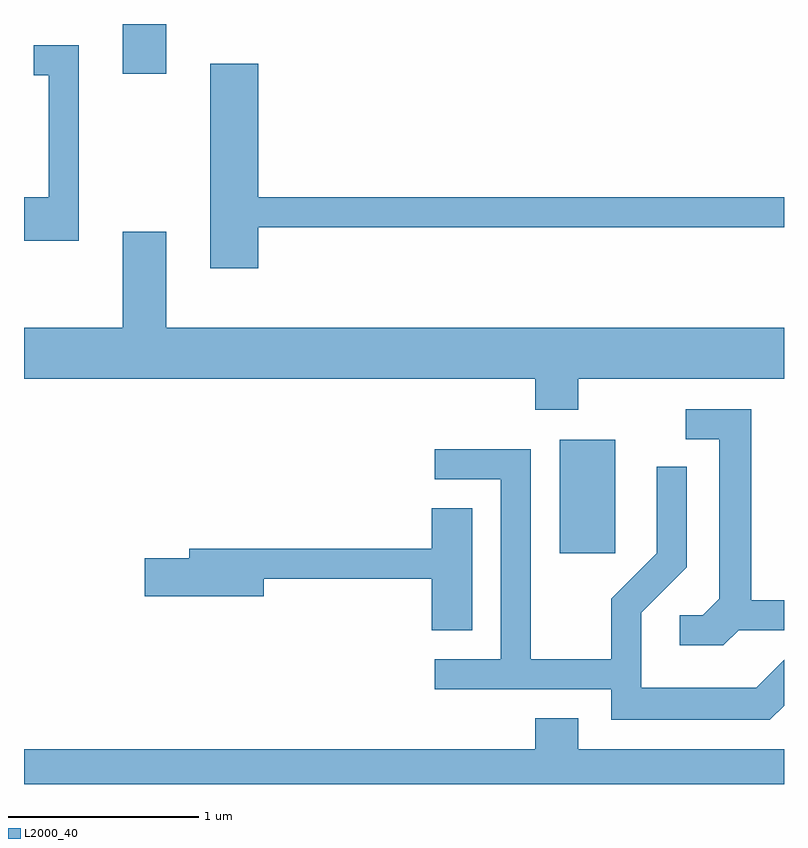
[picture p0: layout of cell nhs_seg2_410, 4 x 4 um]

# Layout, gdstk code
import gdstk
lib = gdstk.Library(unit=1e-6, precision=1e-09)
def R(c, l, rs):  # rectangles x0, y0, x1, y1
    for r in rs: c.add(gdstk.rectangle(r[:2], r[2:], *l))
def P(c, l, *ps):  # polygons
    for p in ps: c.add(gdstk.Polygon(p, *l))
L2000_40 = (2000, 40)

nhs_seg2_410 = lib.new_cell('nhs_seg2_410')
R(nhs_seg2_410, L2000_40, [(200.431,983.016,200.724,983.614), (198.131,985.541,198.359,985.802)])
P(nhs_seg2_410, L2000_40, [(197.899,985.689),(197.663,985.689),(197.663,985.531),(197.741,985.531),(197.741,984.889),(197.611,984.889),(197.611,984.661),(197.899,984.661)],
  [(198.844,984.731),(201.611,984.731),(201.611,984.889),(198.844,984.889),(198.844,985.594),(198.591,985.594),(198.591,984.516),(198.844,984.516)],
  [(200.529,983.936),(201.611,983.936),(201.611,984.204),(198.359,984.204),(198.359,984.709),(198.131,984.709),(198.131,984.204),(197.611,984.204),(197.611,983.936),(200.301,983.936),(200.301,983.771),(200.529,983.771)],
  [(201.372,982.611),(201.611,982.611),(201.611,982.769),(201.439,982.769),(201.439,983.774),(201.093,983.774),(201.093,983.616),(201.271,983.616),(201.271,982.777),(201.184,982.689),(201.063,982.689),(201.063,982.531),(201.292,982.531)],
  [(201.611,982.215),(201.611,982.456),(201.464,982.309),(200.859,982.309),(200.859,982.704),(201.099,982.944),(201.099,983.473),(200.941,983.473),(200.941,983.017),(200.701,982.777),(200.701,982.459),(200.279,982.459),(200.279,983.564),(199.773,983.564),(199.773,983.406),(200.121,983.406),(200.121,982.459),(199.773,982.459),(199.773,982.301),(200.701,982.301),(200.701,982.141),(201.537,982.141)],
  [(199.969,983.254),(199.756,983.254),(199.756,983.039),(198.481,983.039),(198.481,982.989),(198.246,982.989),(198.246,982.791),(198.874,982.791),(198.874,982.881),(199.756,982.881),(199.756,982.611),(199.969,982.611)],
  [(201.611,981.984),(200.529,981.984),(200.529,982.149),(200.301,982.149),(200.301,981.984),(197.611,981.984),(197.611,981.802),(201.611,981.802)])

lib.write_gds('nhs_seg2_410.gds')
